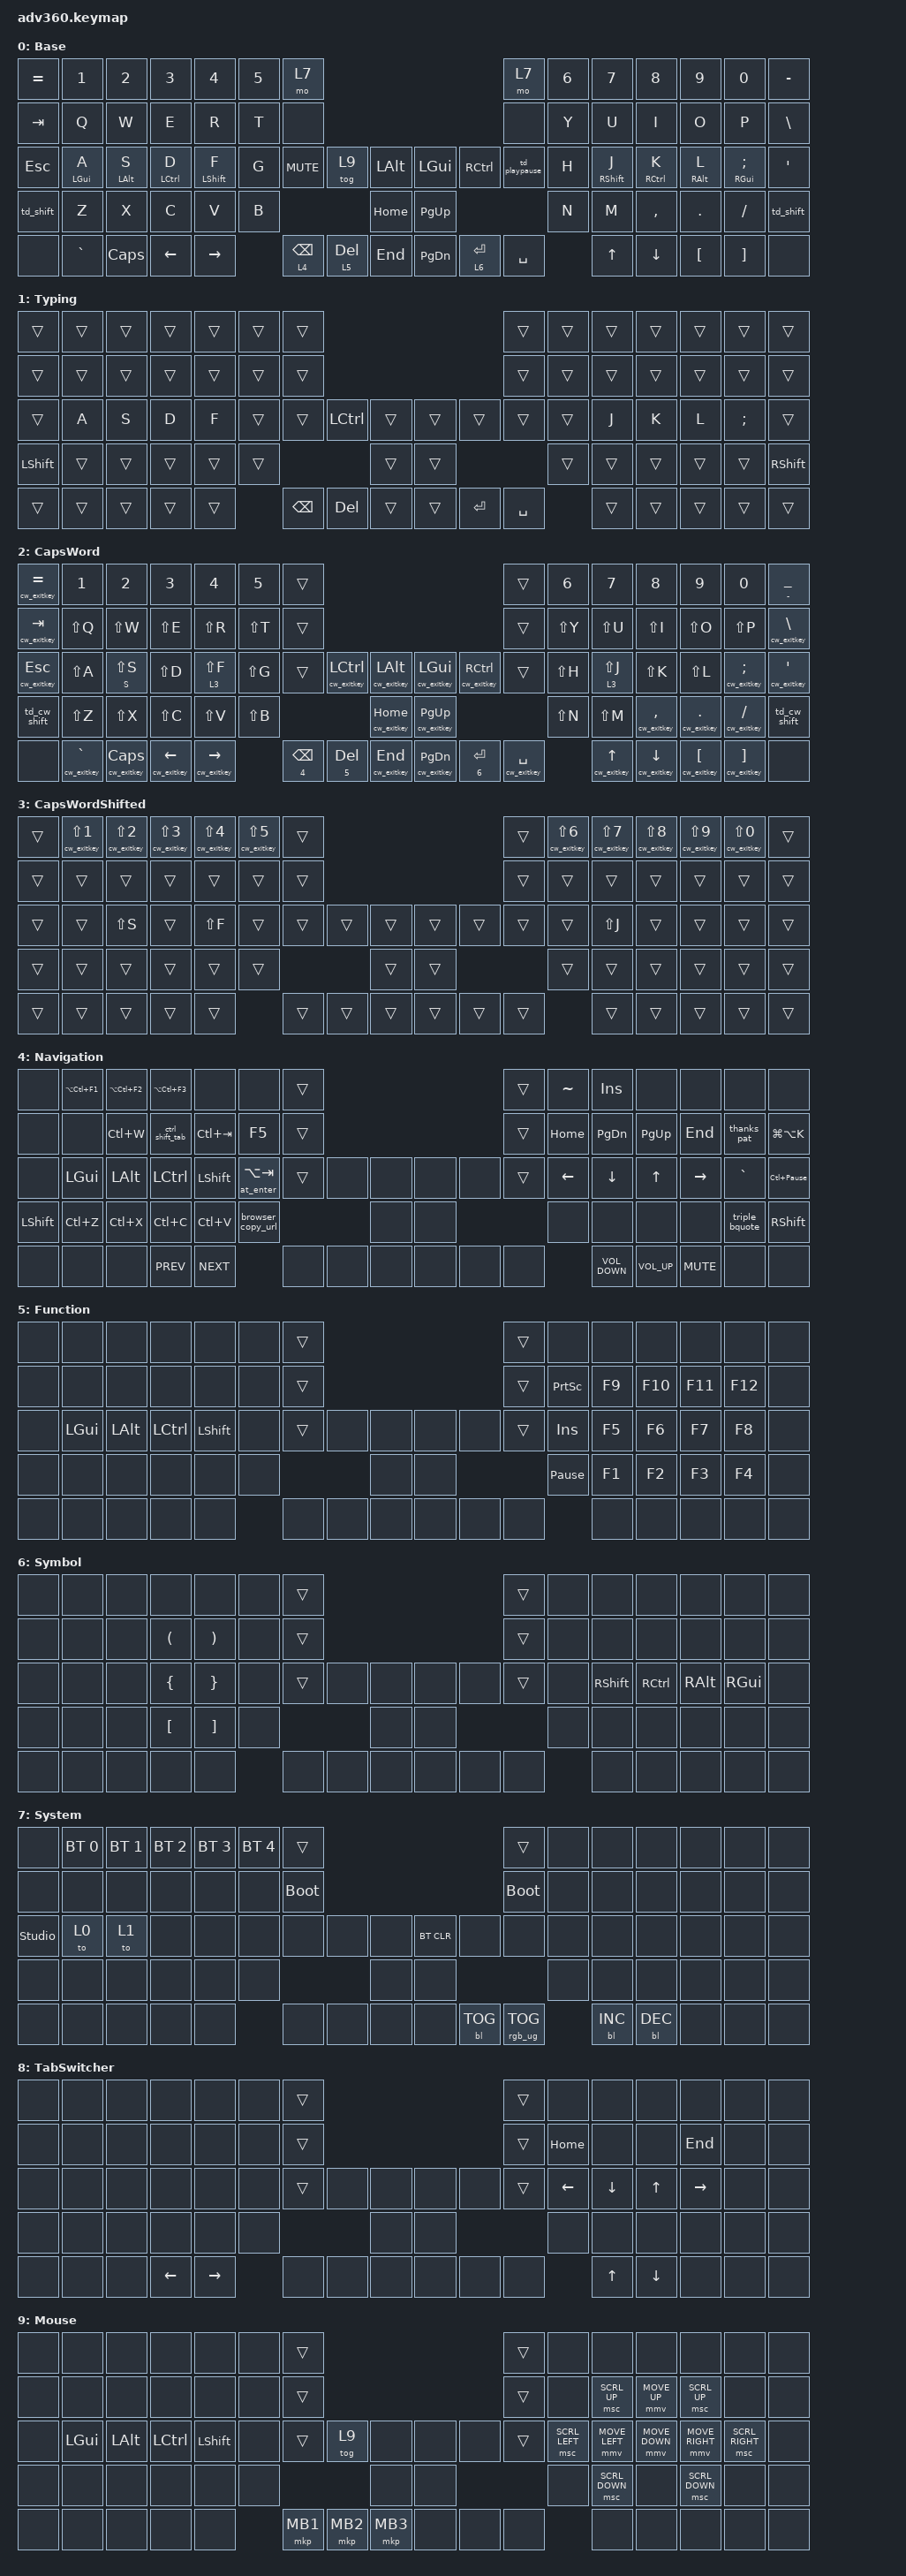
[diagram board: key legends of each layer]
#include <dt-bindings/zmk/stp.h>
#include <behaviors.dtsi>
#include <dt-bindings/zmk/backlight.h>
#include <dt-bindings/zmk/bt.h>
#include <dt-bindings/zmk/keys.h>
#include <dt-bindings/zmk/pointing.h>
#include <dt-bindings/zmk/rgb.h>

/ {
    behaviors {
        #include "macros.dtsi"
      #include "version.dtsi"

        hrml: hrml {
            compatible = "zmk,behavior-hold-tap";
            label = "HRML";
            bindings = <&kp>, <&kp>;

            #binding-cells = <2>;
            tapping-term-ms = <500>;
            quick-tap-ms = <300>;
            require-prior-idle-ms = <250>;
            flavor = "balanced";
            hold-trigger-on-release;
            hold-trigger-key-positions = <7 8 9 10 11 12 13 21 22 23 24 25 26 27 38 39 40 41 42 43 44 45 54 55 56 57 58 59 71 72 73 74 75 37 38 53 68 69 70>;
        };

        hrmli: hrmli {
            compatible = "zmk,behavior-hold-tap";
            label = "HRMLI";
            bindings = <&kp>, <&kp>;

            #binding-cells = <2>;
            tapping-term-ms = <500>;
            quick-tap-ms = <300>;
            require-prior-idle-ms = <150>;
            flavor = "balanced";
            hold-trigger-on-release;
            hold-trigger-key-positions = <7 8 9 10 11 12 13 21 22 23 24 25 26 27 38 39 40 41 42 43 44 45 54 55 56 57 58 59 71 72 73 74 75 37 38 53 68 69 70>;
        };

        hrmr: hrmr {
            compatible = "zmk,behavior-hold-tap";
            label = "HRMR";
            bindings = <&kp>, <&kp>;

            #binding-cells = <2>;
            tapping-term-ms = <500>;
            quick-tap-ms = <300>;
            require-prior-idle-ms = <250>;
            flavor = "balanced";
            hold-trigger-on-release;
            hold-trigger-key-positions = <0 1 2 3 4 5 6 14 15 16 17 18 19 20 28 29 30 31 32 33 34 35 36 46 47 48 49 50 51 52 60 61 62 63 64 65 66 67>;
        };

        hrmri: hrmri {
            compatible = "zmk,behavior-hold-tap";
            label = "HRMRI";
            bindings = <&kp>, <&kp>;

            #binding-cells = <2>;
            tapping-term-ms = <500>;
            quick-tap-ms = <300>;
            require-prior-idle-ms = <150>;
            flavor = "balanced";
            hold-trigger-on-release;
            hold-trigger-key-positions = <0 1 2 3 4 5 6 14 15 16 17 18 19 20 28 29 30 31 32 33 34 35 36 46 47 48 49 50 51 52 60 61 62 63 64 65 66 67>;
        };

        thumblayer: thumblayer {
            compatible = "zmk,behavior-hold-tap";
            label = "THUMBLAYER";
            bindings = <&mo>, <&kp>;

            #binding-cells = <2>;
            tapping-term-ms = <500>;
            quick-tap-ms = <300>;
            require-prior-idle-ms = <250>;
            flavor = "balanced";
        };

        td_playpause: td_playpause {
            compatible = "zmk,behavior-tap-dance";
            label = "TD_PLAYPAUSE";
            #binding-cells = <0>;
            bindings = <&kp C_PLAY_PAUSE>, <&kp LS(C_PLAY_PAUSE)>;
        };

        td_shift: td_shift {
            compatible = "zmk,behavior-tap-dance";
            label = "TD_SHIFT";
            #binding-cells = <0>;
            bindings = <&kp LSHIFT>, <&tog 2>;
        };

        cw_hold_tap: cw_hold_tap {
            compatible = "zmk,behavior-hold-tap";
            label = "CW_HOLD_TAP";
            bindings = <&kp>, <&kp>;

            #binding-cells = <2>;
            tapping-term-ms = <400>;
            flavor = "tap-preferred";
        };

        cw_minus: cw_minus {
            compatible = "zmk,behavior-hold-tap";
            label = "CW_MINUS";
            bindings = <&cw_exitkey>, <&kp>;

            #binding-cells = <2>;
            tapping-term-ms = <400>;
            flavor = "tap-preferred";
        };

        nav_alttab: nav_alttab {
            compatible = "zmk,behavior-hold-tap";
            label = "NAV_ALTTAB";
            #binding-cells = <2>;
            tapping-term-ms = <200>;
            bindings = <&at_enter>, <&kp>;
        };

        hrmli_layer: hrmli_layer {
            compatible = "zmk,behavior-hold-tap";
            label = "HRMLI_LAYER";
            bindings = <&mo>, <&kp>;

            #binding-cells = <2>;
            tapping-term-ms = <500>;
            quick-tap-ms = <300>;
            require-prior-idle-ms = <150>;
            flavor = "balanced";
            hold-trigger-on-release;
            hold-trigger-key-positions = <7 8 9 10 11 12 13 21 22 23 24 25 26 27 38 39 40 41 42 43 44 45 54 55 56 57 58 59 71 72 73 74 75 37 38 53 68 69 70>;
        };

        hrmri_layer: hrmri_layer {
            compatible = "zmk,behavior-hold-tap";
            label = "HRMRI_LAYER";
            bindings = <&mo>, <&kp>;

            #binding-cells = <2>;
            tapping-term-ms = <500>;
            quick-tap-ms = <300>;
            require-prior-idle-ms = <150>;
            flavor = "balanced";
            hold-trigger-on-release;
            hold-trigger-key-positions = <0 1 2 3 4 5 6 14 15 16 17 18 19 20 28 29 30 31 32 33 34 35 36 46 47 48 49 50 51 52 60 61 62 63 64 65 66 67>;
        };

        cw_bs: cw_bs {
            compatible = "zmk,behavior-hold-tap";
            label = "CW_BS";
            bindings = <&cw_exitlayer>, <&kp>;

            #binding-cells = <2>;
            tapping-term-ms = <2500>;
            quick-tap-ms = <300>;
            require-prior-idle-ms = <250>;
        };

        toggle_off: toggle_off {
            compatible = "zmk,behavior-toggle-layer";
            label = "TOGGLE_OFF";
            #binding-cells = <1>;
            toggle-mode = "off";
        };

        toggle_on: toggle_on {
            compatible = "zmk,behavior-toggle-layer";
            label = "TOGGLE_ON";
            #binding-cells = <1>;
        };

        td_cw_shift: td_cw_shift {
            compatible = "zmk,behavior-tap-dance";
            label = "TD_CW_SHIFT";
            #binding-cells = <0>;
            bindings = <&mo 3>, <&tog 2>;
        };

        cw_exitkeyorlayer: cw_exitkeyorlayer {
            compatible = "zmk,behavior-hold-tap";
            label = "CW_EXITKEYORLAYER";
            bindings = <&cw_exitlayer>, <&cw_exitkey>;

            #binding-cells = <2>;
            tapping-term-ms = <2500>;
            quick-tap-ms = <300>;
            require-prior-idle-ms = <250>;
        };
    };

    macros {
        thanks_pat: thanks_pat {
            compatible = "zmk,behavior-macro";
            #binding-cells = <0>;
            bindings =
                <&macro_tap_time 2>,
                <&kp LS(T) &kp H &kp A &kp N &kp K &kp S &kp COMMA &kp LS(RET) &kp LS(P) &kp A &kp T>;

            label = "THANKS_PAT";
        };

        triple_bquote: triple_bquote {
            compatible = "zmk,behavior-macro";
            #binding-cells = <0>;
            bindings = <&macro_tap_time 2>, <&kp GRAVE &kp GRAVE &kp GRAVE>;

            label = "TRIPLE_BQUOTE";
        };

        browser_copy_url: browser_copy_url {
            compatible = "zmk,behavior-macro";
            #binding-cells = <0>;
            bindings = <&kp LA(D) &kp LC(C) &kp ESC &kp TAB>;
            label = "BROWSER_COPY_URL";
        };

        cw_exitkey: cw_exitkey {
            compatible = "zmk,behavior-macro-one-param";
            #binding-cells = <1>;
            bindings = <&toggle_off 2 &macro_param_1to1 &kp MACRO_PLACEHOLDER>;
            label = "CW_EXITKEY";
        };

        ctrl_shift_tab: ctrl_shift_tab {
            compatible = "zmk,behavior-macro";
            #binding-cells = <0>;
            bindings =
                <&macro_press>,
                <&kp LCTRL &kp LSHFT>,
                <&macro_wait_time 3>,
                <&macro_tap>,
                <&kp TAB>,
                <&macro_release>,
                <&macro_wait_time 3>,
                <&kp LSHFT &kp LCTRL>;

            label = "CTRL_SHIFT_TAB";
        };

        at_enter: at_enter {
            compatible = "zmk,behavior-macro";
            #binding-cells = <0>;
            bindings =
                <&toggle_on 8>,
                <&macro_press>,
                <&kp LALT>,
                <&macro_tap>,
                <&kp TAB>,
                <&macro_pause_for_release>,
                <&macro_release>,
                <&kp LALT>,
                <&macro_tap>,
                <&toggle_off 8>;

            label = "AT_ENTER";
        };

        cw_exitlayer: cw_exitlayer {
            compatible = "zmk,behavior-macro-one-param";
            #binding-cells = <1>;
            bindings =
                <&macro_param_1to1 &mo MACRO_PLACEHOLDER>,
                <&macro_pause_for_release>,
                <&toggle_off 2>;

            label = "CW_EXITLAYER";
        };
    };

    keymap {
        compatible = "zmk,keymap";

        Base {
            display-name = "Base";
            bindings = <
&kp EQUAL  &kp N1        &kp N2        &kp N3         &kp N4           &kp N5  &mo 7                                                                                        &mo 7          &kp N6  &kp N7           &kp N8         &kp N9             &kp N0                &kp MINUS
&kp TAB    &kp Q         &kp W         &kp E          &kp R            &kp T   &none                                                                                        &none          &kp Y   &kp U            &kp I          &kp O              &kp P                 &kp BSLH
&kp ESC    &hrml LGUI A  &hrml LALT S  &hrml LCTRL D  &hrmli LSHIFT F  &kp G   &kp C_MUTE               &tog 9                &kp LALT      &kp LGUI   &kp RCTRL            &td_playpause  &kp H   &hrmri RSHIFT J  &hrmr RCTRL K  &hrmr RIGHT_ALT L  &hrmr RGUI SEMICOLON  &kp SQT
&td_shift  &kp Z         &kp X         &kp C          &kp V            &kp B                                                  &kp HOME      &kp PG_UP                                      &kp N   &kp M            &kp COMMA      &kp DOT            &kp FSLH              &td_shift
&none      &kp GRAVE     &kp CAPS      &kp LEFT       &kp RIGHT                &thumblayer 4 BACKSPACE  &thumblayer 5 DELETE  &kp END       &kp PG_DN  &thumblayer 6 ENTER  &kp SPACE              &kp UP           &kp DOWN       &kp LBKT           &kp RBKT              &none
            >;
        };

        Typing {
            bindings = <
&trans     &trans  &trans  &trans  &trans  &trans  &trans                                              &trans     &trans  &trans  &trans  &trans  &trans    &trans
&trans     &trans  &trans  &trans  &trans  &trans  &trans                                              &trans     &trans  &trans  &trans  &trans  &trans    &trans
&trans     &kp A   &kp S   &kp D   &kp F   &trans  &trans    &kp LCTRL  &trans      &trans  &trans     &trans     &trans  &kp J   &kp K   &kp L   &kp SEMI  &trans
&kp LSHFT  &trans  &trans  &trans  &trans  &trans                       &trans      &trans                        &trans  &trans  &trans  &trans  &trans    &kp RSHFT
&trans     &trans  &trans  &trans  &trans          &kp BSPC  &kp DEL    &trans      &trans  &kp ENTER  &kp SPACE          &trans  &trans  &trans  &trans    &trans
            >;
        };

        CapsWord {
            display-name = "CapsWord";
            bindings = <
&cw_exitkey EQUAL  &kp N1             &kp N2                &kp N3            &kp N4                &kp N5     &trans                                                                                                             &trans             &kp N6     &kp N7                &kp N8             &kp N9            &kp N0            &cw_minus MINUS UNDER
&cw_exitkey TAB    &kp LS(Q)          &kp LS(W)             &kp LS(E)         &kp LS(R)             &kp LS(T)  &trans                                                                                                             &trans             &kp LS(Y)  &kp LS(U)             &kp LS(I)          &kp LS(O)         &kp LS(P)         &cw_exitkey BSLH
&cw_exitkey ESC    &kp LS(A)          &cw_hold_tap S LS(S)  &kp LS(D)         &hrmli_layer 3 LS(F)  &kp LS(G)  &trans              &cw_exitkey LCTRL         &cw_exitkey LALT      &cw_exitkey LGUI   &cw_exitkey RCTRL           &trans             &kp LS(H)  &hrmri_layer 3 LS(J)  &kp LS(K)          &kp LS(L)         &cw_exitkey SEMI  &cw_exitkey SQT
&td_cw_shift       &kp LS(Z)          &kp LS(X)             &kp LS(C)         &kp LS(V)             &kp LS(B)                                                &cw_exitkey HOME      &cw_exitkey PG_UP                                                 &kp LS(N)  &kp LS(M)             &cw_exitkey COMMA  &cw_exitkey DOT   &cw_exitkey FSLH  &td_cw_shift
&none              &cw_exitkey GRAVE  &cw_exitkey CAPS      &cw_exitkey LEFT  &cw_exitkey RIGHT                &cw_bs 4 BACKSPACE  &cw_exitkeyorlayer 5 DEL  &cw_exitkey END       &cw_exitkey PG_DN  &cw_exitkeyorlayer 6 ENTER  &cw_exitkey SPACE             &cw_exitkey UP        &cw_exitkey DOWN   &cw_exitkey LBKT  &cw_exitkey RBKT  &none
            >;
        };

        CapsWordShifted {
            bindings = <
&trans  &cw_exitkey LS(N1)  &cw_exitkey LS(N2)  &cw_exitkey LS(N3)  &cw_exitkey LS(N4)  &cw_exitkey LS(N5)  &trans                                      &trans  &cw_exitkey LS(N6)  &cw_exitkey LS(N7)  &cw_exitkey LS(N8)  &cw_exitkey LS(N9)  &cw_exitkey LS(N0)  &trans
&trans  &trans              &trans              &trans              &trans              &trans              &trans                                      &trans  &trans              &trans              &trans              &trans              &trans              &trans
&trans  &trans              &kp LS(S)           &trans              &kp LS(F)           &trans              &trans  &trans  &trans      &trans  &trans  &trans  &trans              &kp LS(J)           &trans              &trans              &trans              &trans
&trans  &trans              &trans              &trans              &trans              &trans                              &trans      &trans                  &trans              &trans              &trans              &trans              &trans              &trans
&trans  &trans              &trans              &trans              &trans                                  &trans  &trans  &trans      &trans  &trans  &trans                      &trans              &trans              &trans              &trans              &trans
            >;

            label = "CapsWordShifted";
        };

        Navigation {
            bindings = <
&none       &kp LA(LC(F1))  &kp LA(LC(F2))  &kp LA(LC(F3))   &none        &none                  &trans                                  &trans  &kp TILDE  &kp INS            &none         &none       &none           &none
&none       &none           &kp LC(W)       &ctrl_shift_tab  &kp LC(TAB)  &kp F5                 &trans                                  &trans  &kp HOME   &kp PAGE_DOWN      &kp PAGE_UP   &kp END     &thanks_pat     &kp LG(LA(K))
&none       &kp LGUI        &kp LEFT_ALT    &kp LCTRL        &kp LSHFT    &nav_alttab 0 LA(TAB)  &trans  &none  &none      &none  &none  &trans  &kp LEFT   &kp DOWN           &kp UP        &kp RIGHT   &kp GRAVE       &kp LC(PAUSE_BREAK)
&kp LSHIFT  &kp LC(Z)       &kp LC(X)       &kp LC(C)        &kp LC(V)    &browser_copy_url                     &none      &none                 &none      &none              &none         &none       &triple_bquote  &kp RSHIFT
&none       &none           &none           &kp C_PREV       &kp C_NEXT                          &none   &none  &none      &none  &none  &none              &kp C_VOLUME_DOWN  &kp C_VOL_UP  &kp C_MUTE  &none           &none
            >;

            label = "Navigation";
        };

        Function {
            bindings = <
&none  &none     &none     &none      &none      &none  &trans                                  &trans  &none            &none   &none    &none    &none    &none
&none  &none     &none     &none      &none      &none  &trans                                  &trans  &kp PRINTSCREEN  &kp F9  &kp F10  &kp F11  &kp F12  &none
&none  &kp LGUI  &kp LALT  &kp LCTRL  &kp LSHFT  &none  &trans  &none  &none      &none  &none  &trans  &kp INS          &kp F5  &kp F6   &kp F7   &kp F8   &none
&none  &none     &none     &none      &none      &none                 &none      &none                 &kp PAUSE_BREAK  &kp F1  &kp F2   &kp F3   &kp F4   &none
&none  &none     &none     &none      &none             &none   &none  &none      &none  &none  &none                    &none   &none    &none    &none    &none
            >;

            label = "Function";
        };

        Symbol {
            bindings = <
&none  &none  &none  &none             &none              &none  &trans                                  &trans  &none  &none      &none      &none     &none     &none
&none  &none  &none  &kp LPAR          &kp RPAR           &none  &trans                                  &trans  &none  &none      &none      &none     &none     &none
&none  &none  &none  &kp LEFT_BRACE    &kp RIGHT_BRACE    &none  &trans  &none  &none      &none  &none  &trans  &none  &kp RSHFT  &kp RCTRL  &kp RALT  &kp RGUI  &none
&none  &none  &none  &kp LEFT_BRACKET  &kp RIGHT_BRACKET  &none                 &none      &none                 &none  &none      &none      &none     &none     &none
&none  &none  &none  &none             &none                     &none   &none  &none      &none  &none  &none          &none      &none      &none     &none     &none
            >;

            label = "Symbol";
        };

        System {
            display-name = "System";
            bindings = <
&none           &bt BT_SEL 0  &bt BT_SEL 1  &bt BT_SEL 2  &bt BT_SEL 3  &bt BT_SEL 4  &trans                                                 &trans           &none  &none       &none       &none  &none  &none
&none           &none         &none         &none         &none         &none         &bootloader                                            &bootloader      &none  &none       &none       &none  &none  &none
&studio_unlock  &to 0         &to 1         &none         &none         &none         &none        &none  &none      &bt BT_CLR  &none       &none            &none  &none       &none       &none  &none  &none
&none           &none         &none         &none         &none         &none                             &none      &none                                    &none  &none       &none       &none  &none  &none
&none           &none         &none         &none         &none                       &none        &none  &none      &none       &bl BL_TOG  &rgb_ug RGB_TOG         &bl BL_INC  &bl BL_DEC  &none  &none  &none
            >;
        };

        TabSwitcher {
            bindings = <
&none  &none  &none  &none     &none      &none  &trans                                  &trans  &none     &none     &none     &none      &none  &none
&none  &none  &none  &none     &none      &none  &trans                                  &trans  &kp HOME  &none     &none     &kp END    &none  &none
&none  &none  &none  &none     &none      &none  &trans  &none  &none      &none  &none  &trans  &kp LEFT  &kp DOWN  &kp UP    &kp RIGHT  &none  &none
&none  &none  &none  &none     &none      &none                 &none      &none                 &none     &none     &none     &none      &none  &none
&none  &none  &none  &kp LEFT  &kp RIGHT         &none   &none  &none      &none  &none  &none             &kp UP    &kp DOWN  &none      &none  &none
            >;

            label = "TabSwitcher";
        };

        Mouse {
            bindings = <
&none  &none     &none     &none      &none      &none  &trans                                          &trans  &none           &none           &none           &none            &none            &none
&none  &none     &none     &none      &none      &none  &trans                                          &trans  &none           &msc SCRL_UP    &mmv MOVE_UP    &msc SCRL_UP     &none            &none
&none  &kp LGUI  &kp LALT  &kp LCTRL  &kp LSHFT  &none  &trans    &tog 9    &none         &none  &none  &trans  &msc SCRL_LEFT  &mmv MOVE_LEFT  &mmv MOVE_DOWN  &mmv MOVE_RIGHT  &msc SCRL_RIGHT  &none
&none  &none     &none     &none      &none      &none                      &none         &none                 &none           &msc SCRL_DOWN  &none           &msc SCRL_DOWN   &none            &none
&none  &none     &none     &none      &none             &mkp MB1  &mkp MB2  &mkp MB3      &none  &none  &none                   &none           &none           &none            &none            &none
            >;

            label = "Mouse";
        };
    };
};
